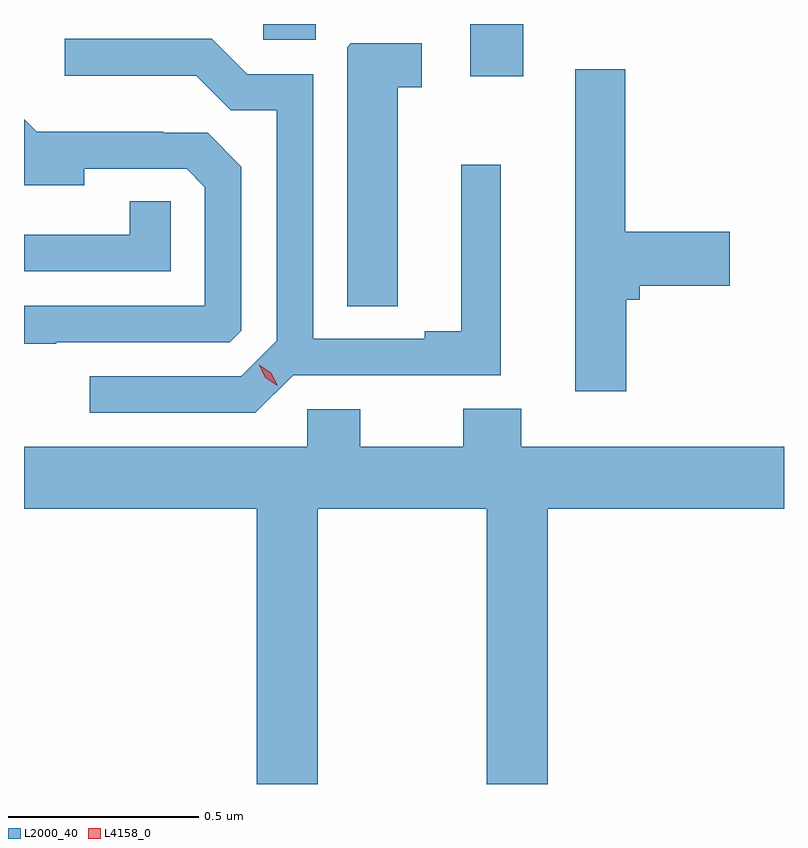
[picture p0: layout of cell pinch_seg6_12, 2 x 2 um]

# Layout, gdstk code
import gdstk
lib = gdstk.Library(unit=1e-6, precision=1e-09)
def R(c, l, rs):  # rectangles x0, y0, x1, y1
    for r in rs: c.add(gdstk.rectangle(r[:2], r[2:], *l))
def P(c, l, *ps):  # polygons
    for p in ps: c.add(gdstk.Polygon(p, *l))
L2000_40 = (2000, 40)
L4158_0 = (4158, 0)

pinch_seg6_12 = lib.new_cell('pinch_seg6_12')
R(pinch_seg6_12, L2000_40, [(952.706,987.102,952.846,987.24), (952.161,987.198,952.3,987.24)])
P(pinch_seg6_12, L2000_40, [(952.24,986.316),(952.786,986.316),(952.786,986.869),(952.682,986.869),(952.682,986.432),(952.586,986.432),(952.586,986.412),(952.293,986.412),(952.293,987.108),(952.119,987.108),(952.026,987.201),(951.639,987.201),(951.639,987.104),(951.985,987.104),(952.076,987.013),(952.197,987.013),(952.197,986.406),(952.104,986.313),(951.705,986.313),(951.705,986.217),(952.141,986.217)],
  [(952.516,987.073),(952.579,987.073),(952.579,987.189),(952.392,987.189),(952.382,987.179),(952.382,986.497),(952.516,986.497)],
  [(953.117,986.515),(953.153,986.515),(953.153,986.551),(953.389,986.551),(953.389,986.693),(953.114,986.693),(953.114,987.121),(952.982,987.121),(952.982,986.274),(953.117,986.274)],
  [(951.617,986.403),(952.074,986.403),(952.104,986.433),(952.104,986.865),(952.015,986.954),(951.899,986.954),(951.899,986.956),(951.565,986.956),(951.532,986.989),(951.532,986.816),(951.691,986.816),(951.691,986.859),(951.96,986.859),(952.008,986.811),(952.008,986.499),(951.532,986.499),(951.532,986.398),(951.617,986.398)],
  [(951.918,986.774),(951.81,986.774),(951.81,986.686),(951.555,986.686),(951.555,986.685),(951.532,986.685),(951.532,986.589),(951.918,986.589)],
  [(952.305,985.964),(952.75,985.964),(952.75,985.24),(952.91,985.24),(952.91,985.964),(953.532,985.964),(953.532,986.128),(952.841,986.128),(952.841,986.227),(952.688,986.227),(952.688,986.128),(952.417,986.128),(952.417,986.226),(952.278,986.226),(952.278,986.128),(951.532,986.128),(951.532,985.964),(952.145,985.964),(952.145,985.24),(952.305,985.24)])
P(pinch_seg6_12, L4158_0, [(952.198,986.288),(952.167,986.309),(952.151,986.343),(952.151,986.343),(952.151,986.343),(952.182,986.322),(952.198,986.289),(952.198,986.288)])

lib.write_gds('pinch_seg6_12.gds')
